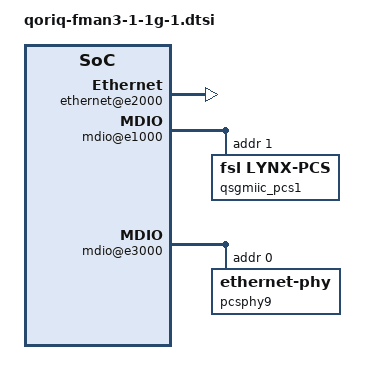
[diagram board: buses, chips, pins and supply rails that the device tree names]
/*
 * QorIQ FMan v3 1g port #1 device tree stub [ controller @ offset 0x500000 ]
 *
 * Copyright 2012 - 2015 Freescale Semiconductor Inc.
 *
 * Redistribution and use in source and binary forms, with or without
 * modification, are permitted provided that the following conditions are met:
 *     * Redistributions of source code must retain the above copyright
 *	 notice, this list of conditions and the following disclaimer.
 *     * Redistributions in binary form must reproduce the above copyright
 *	 notice, this list of conditions and the following disclaimer in the
 *	 documentation and/or other materials provided with the distribution.
 *     * Neither the name of Freescale Semiconductor nor the
 *	 names of its contributors may be used to endorse or promote products
 *	 derived from this software without specific prior written permission.
 *
 *
 * ALTERNATIVELY, this software may be distributed under the terms of the
 * GNU General Public License ("GPL") as published by the Free Software
 * Foundation, either version 2 of that License or (at your option) any
 * later version.
 *
 * THIS SOFTWARE IS PROVIDED BY Freescale Semiconductor ``AS IS'' AND ANY
 * EXPRESS OR IMPLIED WARRANTIES, INCLUDING, BUT NOT LIMITED TO, THE IMPLIED
 * WARRANTIES OF MERCHANTABILITY AND FITNESS FOR A PARTICULAR PURPOSE ARE
 * DISCLAIMED. IN NO EVENT SHALL Freescale Semiconductor BE LIABLE FOR ANY
 * DIRECT, INDIRECT, INCIDENTAL, SPECIAL, EXEMPLARY, OR CONSEQUENTIAL DAMAGES
 * (INCLUDING, BUT NOT LIMITED TO, PROCUREMENT OF SUBSTITUTE GOODS OR SERVICES;
 * LOSS OF USE, DATA, OR PROFITS; OR BUSINESS INTERRUPTION) HOWEVER CAUSED AND
 * ON ANY THEORY OF LIABILITY, WHETHER IN CONTRACT, STRICT LIABILITY, OR TORT
 * (INCLUDING NEGLIGENCE OR OTHERWISE) ARISING IN ANY WAY OUT OF THE USE OF THIS
 * SOFTWARE, EVEN IF ADVISED OF THE POSSIBILITY OF SUCH DAMAGE.
 */

fman@500000 {
	fman1_rx_0x09: port@89000 {
		cell-index = <0x9>;
		compatible = "fsl,fman-v3-port-rx";
		reg = <0x89000 0x1000>;
	};

	fman1_tx_0x29: port@a9000 {
		cell-index = <0x29>;
		compatible = "fsl,fman-v3-port-tx";
		reg = <0xa9000 0x1000>;
	};

	ethernet@e2000 {
		cell-index = <1>;
		compatible = "fsl,fman-memac";
		reg = <0xe2000 0x1000>;
		fsl,fman-ports = <&fman1_rx_0x09 &fman1_tx_0x29>;
		ptp-timer = <&ptp_timer1>;
		pcsphy-handle = <&pcsphy9>, <&qsgmiic_pcs1>;
		pcs-handle-names = "sgmii", "qsgmii";
	};

	mdio@e1000 {
		qsgmiic_pcs1: ethernet-pcs@1 {
			compatible = "fsl,lynx-pcs";
			reg = <1>;
		};
	};

	mdio@e3000 {
		#address-cells = <1>;
		#size-cells = <0>;
		compatible = "fsl,fman-memac-mdio", "fsl,fman-xmdio";
		reg = <0xe3000 0x1000>;
		fsl,erratum-a011043; /* must ignore read errors */

		pcsphy9: ethernet-phy@0 {
			reg = <0x0>;
		};
	};
};
